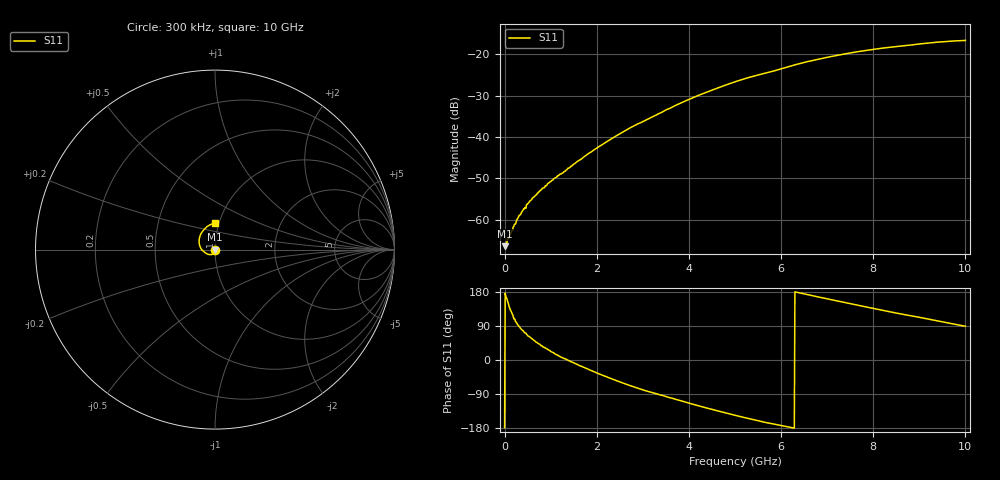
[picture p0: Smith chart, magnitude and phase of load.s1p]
!Agilent Technologies,N5230A,MY45001695,A.07.50.67
!Agilent N5230A: A.07.50.67
!Date: Thursday, August 18, 2016 06:57:26
!Correction: S11(Full 1 Port(1))
!S1P File: Measurement: S11:
# Hz S  dB  R 50
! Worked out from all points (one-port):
!   801 points, 300 kHz to 10 GHz, reference 50 ohm
!   lowest |S11| = -66.3 dB at 300 kHz (marker M1), VSWR 1.00, Z = 50 - j0.000685 ohm
!   |S11| at or under -10 dB: start of sweep to end of sweep
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300000  -66.33 -179.2
5.02985e7  -65.38 162.3
2.377929e8  -60.99 100.8
3.127906e8  -58.91 88.5
3.627891e8  -58.26 81.5
5.252842e8  -55.78 62.7
7.877764e8  -52.79 39.0
9.377719e8  -51.21 27.9
1.112767e9  -49.80 14.7
1.250262e9  -48.72 6.0
1.550254e9  -46.16 -10.3
1.950242e9  -43.03 -31.3
2.500225e9  -39.20 -57.7
2.837715e9  -37.15 -72.4
3.500195e9  -33.47 -96.1
3.750188e9  -32.18 -105.2
4.250172e9  -29.76 -122.3
4.700159e9  -27.85 -136.6
5.00015e9  -26.68 -145.8
5.33764e9  -25.51 -156.0
5.837625e9  -24.07 -168.9
6.250112e9  -22.73 -178.9
6.762597e9  -21.31 167.6
7.500075e9  -19.71 148.8
8.137556e9  -18.64 132.8
8.750038e9  -17.88 118.2
9.475016e9  -17.03 101.3
1e10  -16.70 89.1
